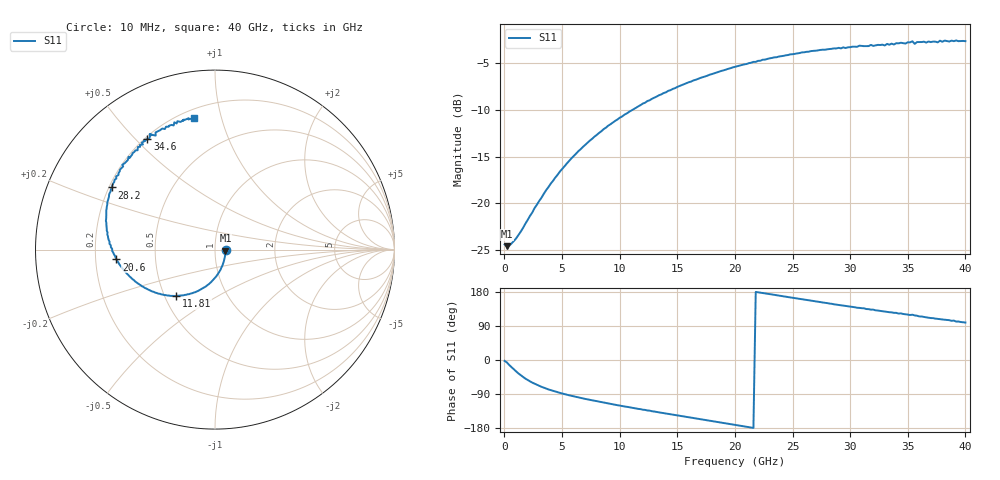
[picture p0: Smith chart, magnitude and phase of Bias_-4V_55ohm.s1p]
!Agilent Technologies,N5227A,US51270434,A.10.00.00
!Agilent N5227A: A.10.00.00
!Date: Monday, March 30, 2026 11:24:49
!Correction: S11(Full 1 Port(1))
!S1P File: Measurement: S11:
# Hz S  dB  R 50
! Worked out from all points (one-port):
!   201 points, 10 MHz to 40 GHz, reference 50 ohm
!   lowest |S11| = -24.6 dB at 209.9 MHz (marker M1), VSWR 1.13, Z = 56.2 - j0.746 ohm
!   |S11| at or under -10 dB: start of sweep to 11.09 GHz
!   S11 on the Smith chart (normalised r, x): 10 MHz: 1.13, -0.01; 11.81 GHz: 0.58, -0.33; 20.6 GHz: 0.29, -0.05; 28.2 GHz: 0.21, +0.27; 34.6 GHz: 0.21, +0.54; 40 GHz: 0.25, +0.82
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1e7  -24.42 -2.3
2.0995e8  -24.61 -6.5
1.00975e9  -23.77 -30.1
3.6091e9  -18.61 -75.2
5.00875e9  -16.32 -88.5
7.2082e9  -13.49 -103.9
1.00075e10  -10.82 -120.2
1.180705e10  -9.47 -129.7
1.500625e10  -7.52 -146.4
1.740565e10  -6.38 -158.4
2.0005e10  -5.37 -171.2
2.060485e10  -5.17 -174.3
2.24044e10  -4.61 176.9
2.500375e10  -4.01 164.3
2.820295e10  -3.46 148.9
3.00025e10  -3.26 140.5
3.12022e10  -3.15 136.4
3.180205e10  -3.02 132.9
3.460135e10  -2.83 121.5
3.500125e10  -2.73 119.6
3.540115e10  -2.63 119.6
3.56011e10  -2.90 117.5
3.6001e10  -2.71 115.0
3.780055e10  -2.56 107.7
3.88003e10  -2.56 103.4
3.900025e10  -2.61 104.0
3.92002e10  -2.54 101.3
4e10  -2.61 98.9
